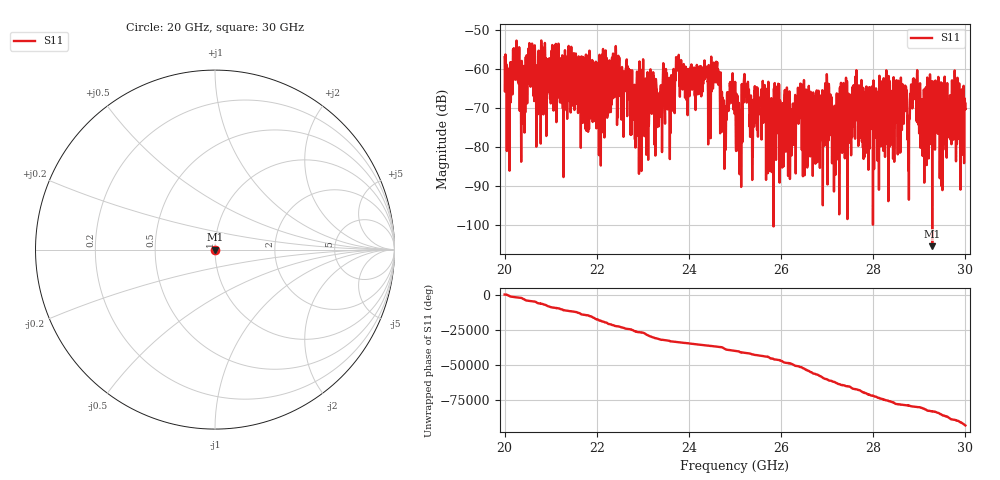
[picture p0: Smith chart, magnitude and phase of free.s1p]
#  HZ  S  RI  R  50.00
! Rohde & Schwarz ZVA40 4Ports - Version 3.90 - 1145.1110k42 SN: 100403
! Date: 2023-10-03 10:54:37
! Measurement: S12
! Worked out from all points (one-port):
!   5001 points, 20 GHz to 30 GHz, reference 50 ohm
!   lowest |S11| = -105.4 dB at 29.28 GHz (marker M1), VSWR 1.00, Z = 50 - j0.000232 ohm
!   |S11| at or under -10 dB: start of sweep to end of sweep
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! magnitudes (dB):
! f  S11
! 20 GHz  -57.0
! 20.09 GHz  -72.4
! 20.23 GHz  -62.8
! 20.4 GHz  -59.6
! 20.56 GHz  -59.3
! 20.67 GHz  -59.6
! 21.06 GHz  -67.6
! 21.25 GHz  -56.6
! 22.5 GHz  -67.0
! 23.37 GHz  -72.3
! 23.75 GHz  -60.4
! 24.58 GHz  -61.8
! 24.77 GHz  -78.9
! 25 GHz  -65.8
! 25.11 GHz  -70.8
! 25.24 GHz  -67.0
! 25.36 GHz  -76.4
! 25.62 GHz  -73.3
! 25.79 GHz  -67.8
! 25.89 GHz  -76.9
! 26.25 GHz  -72.6
! 26.4 GHz  -72.0
! 27.5 GHz  -74.3
! 28.75 GHz  -72.2
! 28.91 GHz  -67.8
! 29.07 GHz  -75.8
! 29.28 GHz  -105.4
! 30 GHz  -68.9
